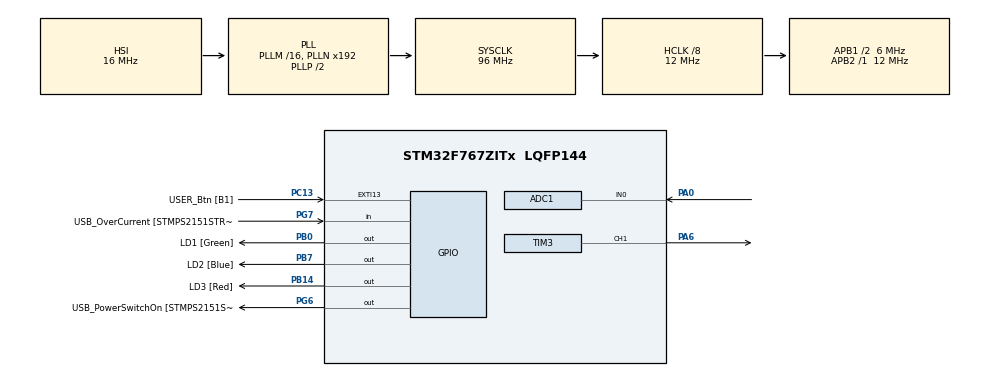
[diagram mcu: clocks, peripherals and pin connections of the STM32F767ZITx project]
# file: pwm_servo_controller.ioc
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ADC1.Channel-1\#ChannelRegularConversion=ADC_CHANNEL_0
ADC1.NbrOfConversionFlag=1
ADC1.Rank-1\#ChannelRegularConversion=1
ADC1.SamplingTime-1\#ChannelRegularConversion=ADC_SAMPLETIME_3CYCLES
ADC1.master=1
Mcu.Family=STM32F7
Mcu.Name=STM32F767ZITx
Mcu.Package=LQFP144
NVIC.PriorityGroup=NVIC_PRIORITYGROUP_4
PA0/WKUP.Signal=ADCx_IN0
PA1.GPIO_Label=RMII_REF_CLK [LAN8742A-CZ-TR_REFCLK0]
PA1.Signal=ETH_REF_CLK
PA10.GPIO_Label=USB_ID
PA10.Signal=USB_OTG_FS_ID
PA11.GPIO_Label=USB_DM
PA11.Signal=USB_OTG_FS_DM
PA12.GPIO_Label=USB_DP
PA12.Signal=USB_OTG_FS_DP
PA13.GPIO_Label=TMS
PA13.Signal=SYS_JTMS-SWDIO
PA14.GPIO_Label=TCK
PA14.Signal=SYS_JTCK-SWCLK
PA2.GPIO_Label=RMII_MDIO [LAN8742A-CZ-TR_MDIO]
PA2.Signal=ETH_MDIO
PA6.Signal=S_TIM3_CH1
PA7.GPIO_Label=RMII_CRS_DV [LAN8742A-CZ-TR_CRS_DV]
PA7.Signal=ETH_CRS_DV
PA8.GPIO_Label=USB_SOF [TP1]
PA8.Signal=USB_OTG_FS_SOF
PA9.GPIO_Label=USB_VBUS
PA9.Signal=USB_OTG_FS_VBUS
PB0.GPIO_Label=LD1 [Green]
PB0.Signal=GPIO_Output
PB13.GPIO_Label=RMII_TXD1 [LAN8742A-CZ-TR_TXD1]
PB13.Signal=ETH_TXD1
PB14.GPIO_Label=LD3 [Red]
PB14.Signal=GPIO_Output
PB3.GPIO_Label=SW0
PB3.Signal=SYS_JTDO-SWO
PB7.GPIO_Label=LD2 [Blue]
PB7.Signal=GPIO_Output
PC1.GPIO_Label=RMII_MDC [LAN8742A-CZ-TR_MDC]
PC1.Signal=ETH_MDC
PC13.GPIO_Label=USER_Btn [B1]
PC13.Signal=GPXTI13
PC14/OSC32_IN.Signal=RCC_OSC32_IN
PC15/OSC32_OUT.Signal=RCC_OSC32_OUT
PC4.GPIO_Label=RMII_RXD0 [LAN8742A-CZ-TR_RXD0]
PC4.Signal=ETH_RXD0
PC5.GPIO_Label=RMII_RXD1 [LAN8742A-CZ-TR_RXD1]
PC5.Signal=ETH_RXD1
PD8.GPIO_Label=STLK_RX [STM32F103CBT6_PA3]
PD8.Signal=USART3_TX
PD9.GPIO_Label=STLK_TX [STM32F103CBT6_PA2]
PD9.Signal=USART3_RX
PG11.GPIO_Label=RMII_TX_EN [LAN8742A-CZ-TR_TXEN]
PG11.Signal=ETH_TX_EN
PG13.GPIO_Label=RMII_TXD0 [LAN8742A-CZ-TR_TXD0]
PG13.Signal=ETH_TXD0
PG6.GPIO_Label=USB_PowerSwitchOn [STMPS2151STR_EN]
PG6.Signal=GPIO_Output
PG7.GPIO_Label=USB_OverCurrent [STMPS2151STR_FAULT]
PG7.Signal=GPIO_Input
PH0/OSC_IN.GPIO_Label=MCO [STM32F103CBT6_PA8]
PH0/OSC_IN.Mode=HSE-External-Oscillator
PH0/OSC_IN.Signal=RCC_OSC_IN
PH1/OSC_OUT.Mode=HSE-External-Oscillator
PH1/OSC_OUT.Signal=RCC_OSC_OUT
ProjectManager.HeapSize=0x200
ProjectManager.StackSize=0x400
ProjectManager.TargetToolchain=STM32CubeIDE
RCC.48MHZClocksFreq_Value=24000000
RCC.AHBCLKDivider=RCC_SYSCLK_DIV8
RCC.AHBFreq_Value=12000000
RCC.APB1CLKDivider=RCC_HCLK_DIV2
RCC.APB1Freq_Value=6000000
RCC.APB1TimFreq_Value=12000000
RCC.APB2Freq_Value=12000000
RCC.APB2TimFreq_Value=12000000
RCC.CortexFreq_Value=12000000
RCC.HCLKFreq_Value=12000000
RCC.HSE_VALUE=16000000
RCC.HSI_VALUE=16000000
RCC.LSE_VALUE=32768
RCC.PLLMUL=RCC_PLL_MUL9
RCC.PRESCALERUSB=RCC_USBCLKSOURCE_PLL_DIV1_5
RCC.SYSCLKFreq_VALUE=96000000
RCC.SYSCLKSource=RCC_SYSCLKSOURCE_PLLCLK
RCC.SYSCLKSourceVirtual=RCC_SYSCLKSOURCE_PLLCLK
RCC.USBFreq_Value=96000000
RCC.VCOOutputFreq_Value=192000000
SH.ADCx_IN0.0=ADC1_IN0,IN0
SH.S_TIM3_CH1.0=TIM3_CH1,PWM Generation1 CH1
TIM3.Channel-PWM\ Generation1\ CH1=TIM_CHANNEL_1
TIM3.Period=30000-1
TIM3.Prescaler=8-1
VP_TIM3_VS_ClockSourceINT.Mode=Internal
board=NUCLEO-F767ZI

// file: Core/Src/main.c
/* USER CODE BEGIN Header */
/**
  ******************************************************************************
  * @file           : main.c
  * @brief          : Main program body
  ******************************************************************************
  * @attention
  *
  * Copyright (c) 2025 STMicroelectronics.
  * All rights reserved.
  *
  * This software is licensed under terms that can be found in the LICENSE file
  * in the root directory of this software component.
  * If no LICENSE file comes with this software, it is provided AS-IS.
  *
  ******************************************************************************
  */
/* USER CODE END Header */
#include "main.h"

TIM_HandleTypeDef htim3;
ADC_HandleTypeDef hadc1;
/* USER CODE BEGIN PV */
int rd = 1;

/* USER CODE END PV */

void SystemClock_Config(void);
static void MX_GPIO_Init(void);
static void MX_TIM3_Init(void);
static void MX_ADC1_Init(void);

int main(void)
{

  /* MCU Configuration--------------------------------------------------------*/

  /* Reset of all peripherals, Initializes the Flash interface and the Systick. */
  HAL_Init();

  /* Configure the system clock */
  SystemClock_Config();

  /* Initialize all configured peripherals */
  MX_GPIO_Init();
  MX_TIM3_Init();
  MX_ADC1_Init();
  /* USER CODE BEGIN 2 */
  // Begin generating PWM signals with specified parameters using Timer 3, Channel 1
  HAL_TIM_PWM_Start(&htim3, TIM_CHANNEL_1);
  HAL_ADC_Start(&hadc1);

  TIM3->CCR1 = ((TIM3->ARR + 1) * 1500) / 20000;

  /* USER CODE END 2 */

  /* Infinite loop */
  while (1)
  {

    /* USER CODE BEGIN 3 */
	  /*TIM3->CCR1 += (rd ? 375 : -375);
	  // Adjusts duty cycle by 1.25% every second
	  if(TIM3->CCR1 >= 3750){
		  rd = 0;
	  }
	  else if(TIM3->CCR1 <= 0){
		  rd = 1;
	  }
	  // Motor alternates between clockwise and counterclockwise rotation.
	  HAL_Delay(1000); */
	  HAL_ADC_Start(&hadc1);

	  if (HAL_ADC_PollForConversion(&hadc1, 3) == HAL_OK)
	      {
	        uint32_t adc_raw = HAL_ADC_GetValue(&hadc1);   // 0 to 4095

	        const uint32_t SERVO_MIN = 0;
	        const uint32_t SERVO_MAX = 2500;
	        const uint32_t ADC_MAX      = 4095;

	        uint32_t pulse_width = SERVO_MIN +
	                            (adc_raw * (SERVO_MAX - SERVO_MIN)) / ADC_MAX;

	        uint32_t ccr_val = ((TIM3->ARR + 1) * pulse_width) / 20000;

	        if (ccr_val > TIM3->ARR)
	        {
	        	ccr_val = TIM3->ARR;
	        }

	        TIM3->CCR1 = ccr_val;
	      }

	      HAL_Delay(0.5);
   }
  /* USER CODE END 3 */
}

void SystemClock_Config(void)
{
  RCC_OscInitTypeDef RCC_OscInitStruct = {0};
  RCC_ClkInitTypeDef RCC_ClkInitStruct = {0};

  /** Configure the main internal regulator output voltage
  */
  __HAL_RCC_PWR_CLK_ENABLE();
  __HAL_PWR_VOLTAGESCALING_CONFIG(PWR_REGULATOR_VOLTAGE_SCALE3);

  /** Initializes the RCC Oscillators according to the specified parameters
  * in the RCC_OscInitTypeDef structure.
  */
  RCC_OscInitStruct.OscillatorType = RCC_OSCILLATORTYPE_HSI;
  RCC_OscInitStruct.HSIState = RCC_HSI_ON;
  RCC_OscInitStruct.HSICalibrationValue = RCC_HSICALIBRATION_DEFAULT;
  RCC_OscInitStruct.PLL.PLLState = RCC_PLL_ON;
  RCC_OscInitStruct.PLL.PLLSource = RCC_PLLSOURCE_HSI;
  RCC_OscInitStruct.PLL.PLLM = 16;
  RCC_OscInitStruct.PLL.PLLN = 192;
  RCC_OscInitStruct.PLL.PLLP = RCC_PLLP_DIV2;
  RCC_OscInitStruct.PLL.PLLQ = 2;
  RCC_OscInitStruct.PLL.PLLR = 2;
  if (HAL_RCC_OscConfig(&RCC_OscInitStruct) != HAL_OK)
  {
    Error_Handler();
  }

  /** Initializes the CPU, AHB and APB buses clocks
  */
  RCC_ClkInitStruct.ClockType = RCC_CLOCKTYPE_HCLK|RCC_CLOCKTYPE_SYSCLK
                              |RCC_CLOCKTYPE_PCLK1|RCC_CLOCKTYPE_PCLK2;
  RCC_ClkInitStruct.SYSCLKSource = RCC_SYSCLKSOURCE_PLLCLK;
  RCC_ClkInitStruct.AHBCLKDivider = RCC_SYSCLK_DIV8;
  RCC_ClkInitStruct.APB1CLKDivider = RCC_HCLK_DIV2;
  RCC_ClkInitStruct.APB2CLKDivider = RCC_HCLK_DIV1;

  if (HAL_RCC_ClockConfig(&RCC_ClkInitStruct, FLASH_LATENCY_0) != HAL_OK)
  {
    Error_Handler();
  }
}

static void MX_ADC1_Init(void)
{

  ADC_ChannelConfTypeDef sConfig = {0};

  /** Configure the global features of the ADC (Clock, Resolution, Data Alignment and number of conversion)
  */
  hadc1.Instance = ADC1;
  hadc1.Init.ClockPrescaler = ADC_CLOCK_SYNC_PCLK_DIV2;
  hadc1.Init.Resolution = ADC_RESOLUTION_12B;
  hadc1.Init.ScanConvMode = ADC_SCAN_DISABLE;
  hadc1.Init.ContinuousConvMode = ENABLE;
  hadc1.Init.DiscontinuousConvMode = DISABLE;
  hadc1.Init.ExternalTrigConvEdge = ADC_EXTERNALTRIGCONVEDGE_NONE;
  hadc1.Init.ExternalTrigConv = ADC_SOFTWARE_START;
  hadc1.Init.DataAlign = ADC_DATAALIGN_RIGHT;
  hadc1.Init.NbrOfConversion = 1;
  hadc1.Init.DMAContinuousRequests = DISABLE;
  hadc1.Init.EOCSelection = ADC_EOC_SINGLE_CONV;
  if (HAL_ADC_Init(&hadc1) != HAL_OK)
  {
    Error_Handler();
  }

  /** Configure for the selected ADC regular channel its corresponding rank in the sequencer and its sample time.
  */
  sConfig.Channel = ADC_CHANNEL_0;
  sConfig.Rank = ADC_REGULAR_RANK_1;
  sConfig.SamplingTime = ADC_SAMPLETIME_3CYCLES;
  if (HAL_ADC_ConfigChannel(&hadc1, &sConfig) != HAL_OK)
  {
    Error_Handler();
  }

}

static void MX_TIM3_Init(void)
{

  TIM_ClockConfigTypeDef sClockSourceConfig = {0};
  TIM_MasterConfigTypeDef sMasterConfig = {0};
  TIM_OC_InitTypeDef sConfigOC = {0};

  htim3.Instance = TIM3;
  htim3.Init.Prescaler = 8-1;
  htim3.Init.CounterMode = TIM_COUNTERMODE_UP;
  htim3.Init.Period = 30000-1;
  htim3.Init.ClockDivision = TIM_CLOCKDIVISION_DIV1;
  htim3.Init.AutoReloadPreload = TIM_AUTORELOAD_PRELOAD_DISABLE;
  if (HAL_TIM_Base_Init(&htim3) != HAL_OK)
  {
    Error_Handler();
  }
  sClockSourceConfig.ClockSource = TIM_CLOCKSOURCE_INTERNAL;
  if (HAL_TIM_ConfigClockSource(&htim3, &sClockSourceConfig) != HAL_OK)
  {
    Error_Handler();
  }
  if (HAL_TIM_PWM_Init(&htim3) != HAL_OK)
  {
    Error_Handler();
  }
  sMasterConfig.MasterOutputTrigger = TIM_TRGO_RESET;
  sMasterConfig.MasterSlaveMode = TIM_MASTERSLAVEMODE_DISABLE;
  if (HAL_TIMEx_MasterConfigSynchronization(&htim3, &sMasterConfig) != HAL_OK)
  {
    Error_Handler();
  }
  sConfigOC.OCMode = TIM_OCMODE_PWM1;
  sConfigOC.Pulse = 0;
  sConfigOC.OCPolarity = TIM_OCPOLARITY_HIGH;
  sConfigOC.OCFastMode = TIM_OCFAST_DISABLE;
  if (HAL_TIM_PWM_ConfigChannel(&htim3, &sConfigOC, TIM_CHANNEL_1) != HAL_OK)
  {
    Error_Handler();
  }
  HAL_TIM_MspPostInit(&htim3);

}

static void MX_GPIO_Init(void)
{
  GPIO_InitTypeDef GPIO_InitStruct = {0};

  /* GPIO Ports Clock Enable */
  __HAL_RCC_GPIOC_CLK_ENABLE();
  __HAL_RCC_GPIOH_CLK_ENABLE();
  __HAL_RCC_GPIOA_CLK_ENABLE();
  __HAL_RCC_GPIOB_CLK_ENABLE();
  __HAL_RCC_GPIOD_CLK_ENABLE();
  __HAL_RCC_GPIOG_CLK_ENABLE();

  /*Configure GPIO pin Output Level */
  HAL_GPIO_WritePin(GPIOB, LD1_Pin|LD3_Pin|LD2_Pin, GPIO_PIN_RESET);

  /*Configure GPIO pin Output Level */
  HAL_GPIO_WritePin(USB_PowerSwitchOn_GPIO_Port, USB_PowerSwitchOn_Pin, GPIO_PIN_RESET);

  /*Configure GPIO pin : USER_Btn_Pin */
  GPIO_InitStruct.Pin = USER_Btn_Pin;
  GPIO_InitStruct.Mode = GPIO_MODE_IT_RISING;
  GPIO_InitStruct.Pull = GPIO_NOPULL;
  HAL_GPIO_Init(USER_Btn_GPIO_Port, &GPIO_InitStruct);

  /*Configure GPIO pins : RMII_MDC_Pin RMII_RXD0_Pin RMII_RXD1_Pin */
  GPIO_InitStruct.Pin = RMII_MDC_Pin|RMII_RXD0_Pin|RMII_RXD1_Pin;
  GPIO_InitStruct.Mode = GPIO_MODE_AF_PP;
  GPIO_InitStruct.Pull = GPIO_NOPULL;
  GPIO_InitStruct.Speed = GPIO_SPEED_FREQ_VERY_HIGH;
  GPIO_InitStruct.Alternate = GPIO_AF11_ETH;
  HAL_GPIO_Init(GPIOC, &GPIO_InitStruct);

  /*Configure GPIO pins : RMII_REF_CLK_Pin RMII_MDIO_Pin RMII_CRS_DV_Pin */
  GPIO_InitStruct.Pin = RMII_REF_CLK_Pin|RMII_MDIO_Pin|RMII_CRS_DV_Pin;
  GPIO_InitStruct.Mode = GPIO_MODE_AF_PP;
  GPIO_InitStruct.Pull = GPIO_NOPULL;
  GPIO_InitStruct.Speed = GPIO_SPEED_FREQ_VERY_HIGH;
  GPIO_InitStruct.Alternate = GPIO_AF11_ETH;
  HAL_GPIO_Init(GPIOA, &GPIO_InitStruct);

  /*Configure GPIO pins : LD1_Pin LD3_Pin LD2_Pin */
  GPIO_InitStruct.Pin = LD1_Pin|LD3_Pin|LD2_Pin;
  GPIO_InitStruct.Mode = GPIO_MODE_OUTPUT_PP;
  GPIO_InitStruct.Pull = GPIO_NOPULL;
  GPIO_InitStruct.Speed = GPIO_SPEED_FREQ_LOW;
  HAL_GPIO_Init(GPIOB, &GPIO_InitStruct);

  /*Configure GPIO pin : RMII_TXD1_Pin */
  GPIO_InitStruct.Pin = RMII_TXD1_Pin;
  GPIO_InitStruct.Mode = GPIO_MODE_AF_PP;
  GPIO_InitStruct.Pull = GPIO_NOPULL;
  GPIO_InitStruct.Speed = GPIO_SPEED_FREQ_VERY_HIGH;
  GPIO_InitStruct.Alternate = GPIO_AF11_ETH;
  HAL_GPIO_Init(RMII_TXD1_GPIO_Port, &GPIO_InitStruct);

  /*Configure GPIO pins : STLK_RX_Pin STLK_TX_Pin */
  GPIO_InitStruct.Pin = STLK_RX_Pin|STLK_TX_Pin;
  GPIO_InitStruct.Mode = GPIO_MODE_AF_PP;
  GPIO_InitStruct.Pull = GPIO_NOPULL;
  GPIO_InitStruct.Speed = GPIO_SPEED_FREQ_VERY_HIGH;
  GPIO_InitStruct.Alternate = GPIO_AF7_USART3;
  HAL_GPIO_Init(GPIOD, &GPIO_InitStruct);

  /*Configure GPIO pin : USB_PowerSwitchOn_Pin */
  GPIO_InitStruct.Pin = USB_PowerSwitchOn_Pin;
  GPIO_InitStruct.Mode = GPIO_MODE_OUTPUT_PP;
  GPIO_InitStruct.Pull = GPIO_NOPULL;
  GPIO_InitStruct.Speed = GPIO_SPEED_FREQ_LOW;
  HAL_GPIO_Init(USB_PowerSwitchOn_GPIO_Port, &GPIO_InitStruct);

  /*Configure GPIO pin : USB_OverCurrent_Pin */
  GPIO_InitStruct.Pin = USB_OverCurrent_Pin;
  GPIO_InitStruct.Mode = GPIO_MODE_INPUT;
  GPIO_InitStruct.Pull = GPIO_NOPULL;
  HAL_GPIO_Init(USB_OverCurrent_GPIO_Port, &GPIO_InitStruct);

  /*Configure GPIO pins : USB_SOF_Pin USB_ID_Pin USB_DM_Pin USB_DP_Pin */
  GPIO_InitStruct.Pin = USB_SOF_Pin|USB_ID_Pin|USB_DM_Pin|USB_DP_Pin;
  GPIO_InitStruct.Mode = GPIO_MODE_AF_PP;
  GPIO_InitStruct.Pull = GPIO_NOPULL;
  GPIO_InitStruct.Speed = GPIO_SPEED_FREQ_VERY_HIGH;
  GPIO_InitStruct.Alternate = GPIO_AF10_OTG_FS;
  HAL_GPIO_Init(GPIOA, &GPIO_InitStruct);

  /*Configure GPIO pin : USB_VBUS_Pin */
  GPIO_InitStruct.Pin = USB_VBUS_Pin;
  GPIO_InitStruct.Mode = GPIO_MODE_INPUT;
  GPIO_InitStruct.Pull = GPIO_NOPULL;
  HAL_GPIO_Init(USB_VBUS_GPIO_Port, &GPIO_InitStruct);

  /*Configure GPIO pins : RMII_TX_EN_Pin RMII_TXD0_Pin */
  GPIO_InitStruct.Pin = RMII_TX_EN_Pin|RMII_TXD0_Pin;
  GPIO_InitStruct.Mode = GPIO_MODE_AF_PP;
  GPIO_InitStruct.Pull = GPIO_NOPULL;
  GPIO_InitStruct.Speed = GPIO_SPEED_FREQ_VERY_HIGH;
  GPIO_InitStruct.Alternate = GPIO_AF11_ETH;
  HAL_GPIO_Init(GPIOG, &GPIO_InitStruct);

}

void Error_Handler(void)
{
  __disable_irq();
  while (1)
  {
  }
}
